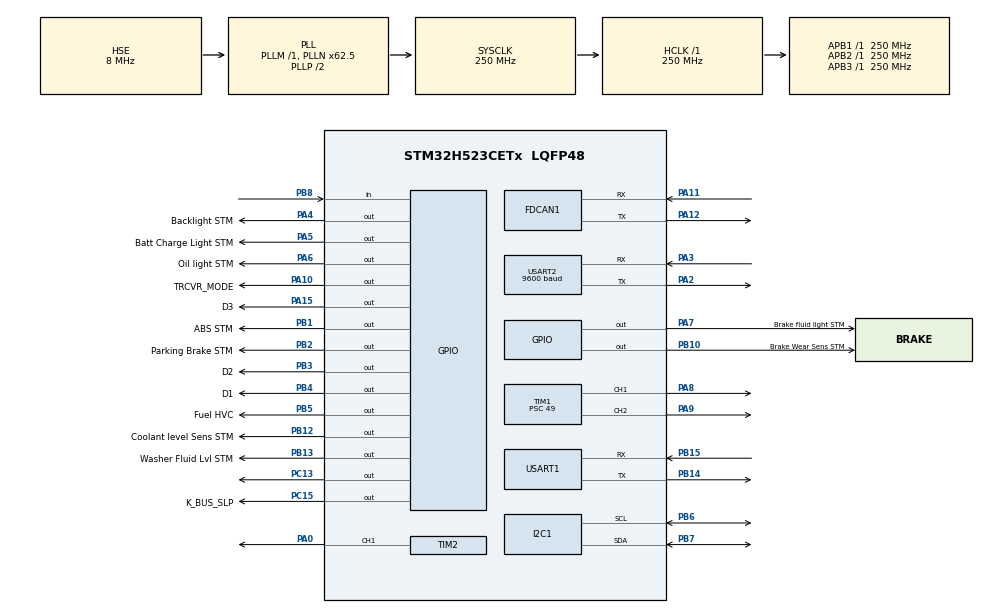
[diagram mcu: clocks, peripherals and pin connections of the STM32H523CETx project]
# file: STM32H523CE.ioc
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BOOTPATH.BootPathName=LEGACY
BOOTPATH.UserSelectedBootPath=LEGACY
CORTEX_M33_NS.userName=CORTEX_M33
FDCAN1.CalculateBaudRateNominal=15625000
FDCAN1.CalculateTimeBitNominal=64
FDCAN1.CalculateTimeQuantumNominal=4.0
FDCAN1.ClockDivider=FDCAN_CLOCK_DIV1
FDCAN1.DataPrescaler=1
FDCAN1.DataTimeSeg1=1
FDCAN1.DataTimeSeg2=1
FDCAN1.FrameFormat=FDCAN_FRAME_CLASSIC
FDCAN1.Mode=FDCAN_MODE_NORMAL
FDCAN1.NominalPrescaler=1
FDCAN1.NominalTimeSeg1=11
FDCAN1.NominalTimeSeg2=4
FDCAN1.StdFiltersNbr=1
FDCAN1.TxFifoQueueMode=FDCAN_TX_FIFO_OPERATION
I2C1.Timing=0x60808CD3
Mcu.Family=STM32H5
Mcu.Name=STM32H523CETx
Mcu.Package=LQFP48
NVIC.FDCAN1_IT0_IRQn=true\:0\:0\:false\:false\:true\:true\:true\:true
NVIC.FDCAN1_IT1_IRQn=true\:0\:0\:false\:false\:true\:true\:true\:true
NVIC.ICACHE_IRQn=true\:0\:0\:false\:false\:true\:true\:true\:true
NVIC.PriorityGroup=NVIC_PRIORITYGROUP_4
NVIC.TIM1_BRK_IRQn=true\:0\:0\:false\:false\:true\:true\:true\:true
NVIC.TIM1_CC_IRQn=true\:0\:0\:false\:false\:true\:true\:true\:true
NVIC.TIM1_TRG_COM_IRQn=true\:0\:0\:false\:false\:true\:true\:true\:true
NVIC.TIM1_UP_IRQn=true\:0\:0\:false\:false\:true\:true\:true\:true
NVIC.USART1_IRQn=true\:0\:0\:false\:false\:true\:true\:true\:true
PA0.Signal=S_TIM2_CH1
PA10.GPIO_Label=TRCVR_MODE
PA10.Signal=GPIO_Output
PA11.GPIO_Speed=GPIO_SPEED_FREQ_VERY_HIGH
PA11.Mode=FDCAN_Activate
PA11.Signal=FDCAN1_RX
PA12.GPIO_Speed=GPIO_SPEED_FREQ_VERY_HIGH
PA12.Mode=FDCAN_Activate
PA12.Signal=FDCAN1_TX
PA13(JTMS/SWDIO).Mode=Serial_Wire
PA13(JTMS/SWDIO).Signal=DEBUG_JTMS-SWDIO
PA14(JTCK/SWCLK).Mode=Serial_Wire
PA14(JTCK/SWCLK).Signal=DEBUG_JTCK-SWCLK
PA15(JTDI).GPIO_Label=D3
PA15(JTDI).GPIO_PuPd=GPIO_NOPULL
PA15(JTDI).PinState=GPIO_PIN_RESET
PA15(JTDI).Signal=GPIO_Output
PA2.GPIO_ModeDefaultPP=GPIO_MODE_AF_PP
PA2.GPIO_PuPd=GPIO_NOPULL
PA2.GPIO_Speed=GPIO_SPEED_FREQ_LOW
PA2.Mode=Asynchronous
PA2.Signal=USART2_TX
PA3.GPIO_ModeDefaultPP=GPIO_MODE_AF_PP
PA3.GPIO_PuPd=GPIO_NOPULL
PA3.GPIO_Speed=GPIO_SPEED_FREQ_LOW
PA3.Mode=Asynchronous
PA3.Signal=USART2_RX
PA4.GPIO_Label=Backlight STM
PA4.GPIO_ModeDefaultOutputPP=GPIO_MODE_OUTPUT_OD
PA4.GPIO_PuPd=GPIO_PULLUP
PA4.PinState=GPIO_PIN_SET
PA4.Signal=GPIO_Output
PA5.GPIO_Label=Batt Charge Light STM
PA5.PinState=GPIO_PIN_SET
PA5.Signal=GPIO_Output
PA6.GPIO_Label=Oil Iight STM
PA6.PinState=GPIO_PIN_SET
PA6.Signal=GPIO_Output
PA7.GPIO_Label=Brake fluid light STM
PA7.Signal=GPIO_Output
PA8.Signal=S_TIM1_CH1
PA9.Signal=S_TIM1_CH2
PB1.GPIO_Label=ABS STM
PB1.Signal=GPIO_Output
PB10.GPIO_Label=Brake Wear Sens STM
PB10.Signal=GPIO_Output
PB12.GPIO_Label=Coolant level Sens STM
PB12.Signal=GPIO_Output
PB13.GPIO_Label=Washer Fluid Lvl STM
PB13.PinState=GPIO_PIN_SET
PB13.Signal=GPIO_Output
PB14.Mode=Asynchronous
PB14.Signal=USART1_TX
PB15.Mode=Asynchronous
PB15.Signal=USART1_RX
PB2.GPIO_Label=Parking Brake STM
PB2.GPIO_PuPd=GPIO_NOPULL
PB2.Signal=GPIO_Output
PB3(JTDO/TRACESWO).GPIO_Label=D2
PB3(JTDO/TRACESWO).PinState=GPIO_PIN_RESET
PB3(JTDO/TRACESWO).Signal=GPIO_Output
PB4(NJTRST).GPIO_Label=D1
PB4(NJTRST).GPIO_PuPd=GPIO_NOPULL
PB4(NJTRST).PinState=GPIO_PIN_RESET
PB4(NJTRST).Signal=GPIO_Output
PB5.GPIO_Label=Fuel HVC
PB5.Signal=GPIO_Output
PB6.Mode=I2C
PB6.Signal=I2C1_SCL
PB7.Mode=I2C
PB7.Signal=I2C1_SDA
PB8.Signal=GPIO_Input
PC13.Signal=GPIO_Output
PC15-OSC32_OUT(OSC32_OUT).GPIO_Label=K_BUS_SLP
PC15-OSC32_OUT(OSC32_OUT).GPIO_PuPd=GPIO_PULLUP
PC15-OSC32_OUT(OSC32_OUT).PinState=GPIO_PIN_SET
PC15-OSC32_OUT(OSC32_OUT).Signal=GPIO_Output
PH0-OSC_IN(PH0).Mode=HSE-External-Oscillator
PH0-OSC_IN(PH0).Signal=RCC_OSC_IN
PH1-OSC_OUT(PH1).Mode=HSE-External-Oscillator
PH1-OSC_OUT(PH1).Signal=RCC_OSC_OUT
ProjectManager.HeapSize=0x200
ProjectManager.StackSize=0x400
ProjectManager.TargetToolchain=STM32CubeIDE
RCC.ADCFreq_Value=250000000
RCC.AHBFreq_Value=250000000
RCC.APB1Freq_Value=250000000
RCC.APB1TimFreq_Value=250000000
RCC.APB2Freq_Value=250000000
RCC.APB2TimFreq_Value=250000000
RCC.APB3Freq_Value=250000000
RCC.CSI_VALUE=4000000
RCC.CortexFreq_Value=250000000
RCC.EPOD_VALUE=8000000
RCC.FDCANClockSelection=RCC_FDCANCLKSOURCE_PLL1Q
RCC.HCLKFreq_Value=250000000
RCC.HSE_VALUE=8000000
RCC.HSI48_VALUE=48000000
RCC.HSIDiv=RCC_HSI_DIV1
RCC.HSI_VALUE=64000000
RCC.LSE_VALUE=32768
RCC.LSIRC_VALUE=32000
RCC.PLL2FRACN=0
RCC.PLL2M=4
RCC.PLL2N=8
RCC.PLL2Q=16
RCC.PLL2Source=RCC_PLL2_SOURCE_HSE
RCC.PLL3FRACN=0
RCC.PLL3Source=RCC_PLL3_SOURCE_HSE
RCC.PLLFRACN=4096
RCC.PLLN=62
RCC.PLLSourceVirtual=RCC_PLL1_SOURCE_HSE
RCC.SYSCLKFreq_VALUE=250000000
RCC.SYSCLKSource=RCC_SYSCLKSOURCE_PLLCLK
RCC.USBFreq_Value=48000000
RCC.VCOOutputFreq_Value=500000000
SH.S_TIM1_CH1.0=TIM1_CH1,PWM Generation1 CH1
SH.S_TIM1_CH2.0=TIM1_CH2,PWM Generation2 CH2
SH.S_TIM2_CH1.0=TIM2_CH1,PWM Generation1 CH1
TIM1.AutoReloadPreload=TIM_AUTORELOAD_PRELOAD_DISABLE
TIM1.Channel-PWM\ Generation1\ CH1=TIM_CHANNEL_1
TIM1.Channel-PWM\ Generation2\ CH2=TIM_CHANNEL_2
TIM1.ClockDivision=TIM_CLOCKDIVISION_DIV1
TIM1.PeriodNoDither=65535
TIM1.Prescaler=49
TIM1.PulseNoDither_1=5000
TIM1.PulseNoDither_2=5000 
TIM2.Channel-PWM\ Generation1\ CH1=TIM_CHANNEL_1
USART1.AutoBaudRateEnableParam=UART_ADVFEATURE_AUTOBAUDRATE_DISABLE
USART1.VirtualMode-Asynchronous=VM_ASYNC
USART2.BaudRate=9600
USART2.Parity=PARITY_EVEN
USART2.VirtualMode-Asynchronous=VM_ASYNC
USART2.WordLength=WORDLENGTH_9B
VP_BOOTPATH_VS_BOOTPATH.Mode=BP_Activate
VP_CORTEX_M33_NS_VS_Hclk.Mode=Hclk_Mode
VP_ICACHE_VS_ICACHE.Mode=DirectMappedCache
VP_MEMORYMAP_VS_MEMORYMAP.Mode=CurAppReg
VP_PWR_VS_DBSignals.Mode=DisableDeadBatterySignals
VP_PWR_VS_LPOM.Mode=PowerOptimisation
VP_PWR_VS_SECSignals.Mode=Security/Privilege
VP_TIM1_VS_ClockSourceINT.Mode=Internal
board=custom

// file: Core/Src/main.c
/* USER CODE BEGIN Header */
/**
  ******************************************************************************
  * @file           : main.c
  * @brief          : Main program body
  ******************************************************************************
  * @attention
  *
  * Copyright (c) 2025 STMicroelectronics.
  * All rights reserved.
  *
  * This software is licensed under terms that can be found in the LICENSE file
  * in the root directory of this software component.
  * If no LICENSE file comes with this software, it is provided AS-IS.
  *
  ******************************************************************************
  */
/* USER CODE END Header */
#include "main.h"

/* USER CODE BEGIN Includes */
#include <stdio.h>
#include <stdbool.h>
/* USER CODE END Includes */

/* USER CODE BEGIN PD */
#define TURN_RAPID        0x80
#define TURN_RIGHT        0x40
#define TURN_LEFT         0x20
#define FOG_REAR          0x10
#define FOG_FRONT         0x08
#define BEAM_HIGH         0x04
#define BEAM_LOW          0x02
#define PARKING           0x01
#define BUFFER_SIZE 128  // Rozmiar bufora odbiorczego
#define CCM_LIC_PLATE     0x80
#define CCM_TURN_RIGHT    0x40
#define CCM_TURN_LEFT     0x20
#define CCM_FOG_REAR      0x10
#define CCM_FOG_FRONT     0x08
#define CCM_HIGH_BEAM     0x04
#define CCM_LOW_BEAM      0x02
#define CCM_PARKING       0x01

#define CCM_REVERSE       0x20
#define INDICATORS        0x04
#define CCM_BRAKE         0x02

#define FOG_REAR_SWITCH   0x40
#define KOMBI_LOW_LEFT    0x20
#define KOMBI_LOW_RIGHT   0x10
#define KOMBI_BRAKE_LEFT  0x02

#define MIN_SPEED 0        // 0 km/h
#define MAX_SPEED 255      // 255 km/h
#define MIN_FREQ 100       // 100 Hz
#define MAX_FREQ 1770000   // 1770 kHz
#define PCLK1_FREQ 250000000 // 250 MHz
/* USER CODE END PD */

FDCAN_HandleTypeDef hfdcan1;

I2C_HandleTypeDef hi2c1;

TIM_HandleTypeDef htim1;
TIM_HandleTypeDef htim2;

UART_HandleTypeDef huart1;
UART_HandleTypeDef huart2;

/* USER CODE BEGIN PV */
FDCAN_TxHeaderTypeDef TxHeader_DME1;
FDCAN_TxHeaderTypeDef RxHeader2;
uint8_t               TxData_DME1[8]= {0xff, 0xff, 0xff, 0x1e, 0x55, 0x66, 0x77, 0x88};
uint8_t               RxData2[8];
uint32_t              TxMailbox;
#define RX_BUFFER_SIZE 25600

uint8_t rxDatar;  // Pojedynczy bajt do odbioru

#define UART_TIMEOUT 500  // Timeout dla UART w ms
#define WIFI_SSID "PLAY_Swiatlowod_19A1"
#define WIFI_PASS "t8Xv9auf7Z#D"
#define BUFFER_SIZE 256  // Zapasowy bufor na dane
uint8_t uartRxBuffer[256]; // Bufor dla odbieranych danych
/* USER CODE END PV */

void SystemClock_Config(void);
static void MX_GPIO_Init(void);
static void MX_FDCAN1_Init(void);
static void MX_I2C1_Init(void);
static void MX_TIM1_Init(void);
static void MX_TIM2_Init(void);
static void MX_USART1_UART_Init(void);
static void MX_USART2_UART_Init(void);
static void MX_ICACHE_Init(void);
#define MAX_PACKET_SIZE 128
/* USER CODE BEGIN PFP */
typedef struct {
    uint32_t time;
    char car[4];
    uint16_t flags;
    char gear;
    char plid;
    float speed;
    float rpm;
    float turbo;
    float engTemp;
    float fuel;
    float oilPressure;
    float oilTemp;
    uint32_t dashLights;
    uint32_t showLights;
    float throttle;
    float brake;
    float clutch;
    char display1[16];
    char display2[16];
    int id;
} xxx;

// Bufor na dane odbierane z ESP32

char rxBuffer[BUFFER_SIZE];
uint8_t packetBuffer[MAX_PACKET_SIZE];
volatile int rxIndex = 0;
int packetLength = 0;
bool packetReady = false;
/* USER CODE END PFP */

/* USER CODE BEGIN 0 */
typedef enum {
    STATE_SEARCHING,  // Szukanie nagłówka "+IPD"
    STATE_READING_LEN, // Odczyt długości pakietu
    STATE_READING_DATA // Odczyt danych
} ParserState;

ParserState state = STATE_SEARCHING;
uint16_t packet_length = 0;  // Długość pakietu
uint16_t data_index = 0;     // Indeks w buforze danych
uint8_t packet_buffer[256];  // Bufor na dane pakietu
void ProcessByte(uint8_t byte) {
    static uint8_t ipd_header_index = 0;
    static const uint8_t ipd_header[] = {0x2B, 0x49, 0x50, 0x44};  // "+IPD" w hex

    switch (state) {
        case STATE_SEARCHING:
            if (byte == ipd_header[ipd_header_index]) {
                ipd_header_index++;
                if (ipd_header_index == sizeof(ipd_header)) {
                    // Znaleziono pełny nagłówek +IPD
                    state = STATE_READING_LEN;
                    ipd_header_index = 0;
                    packet_length = 0;
                }
            } else {
                ipd_header_index = (byte == ipd_header[0]) ? 1 : 0;
            }
            break;

        case STATE_READING_LEN:
            if (byte >= '0' && byte <= '9') {
                packet_length = packet_length * 10 + (byte - '0');
                if (packet_length >= BUFFER_SIZE) {
                    state = STATE_SEARCHING;
                    packet_length = 0;
                }
            } else if (byte == ':') {
                state = STATE_READING_DATA;
                data_index = 0;
            } else {
                state = STATE_SEARCHING;
                packet_length = 0;
            }
            break;

        case STATE_READING_DATA:
            if (data_index < packet_length && data_index < BUFFER_SIZE) {
                packet_buffer[data_index++] = byte;
            }

            if (data_index >= packet_length) {
                // Otrzymano pełny pakiet
                if (packet_length >= sizeof(xxx)) {
                    xxx received_packet;
                    memcpy(&received_packet, packet_buffer, sizeof(xxx));

                    // Wypisanie wartości
                    printf("Speed: %.2f m/s\n", received_packet.speed);
                    printf("RPM: %.2f\n", received_packet.rpm);
                    printf("Throttle: %.2f\n", received_packet.throttle);
                    printf("Brake: %.2f\n", received_packet.brake);
                    printf("Clutch: %.2f\n", received_packet.clutch);
                    printf("Gear: %d\n", received_packet.gear);
                    printf("Turbo: %.2f BAR\n", received_packet.turbo);
                    printf("Engine Temp: %.2f C\n", received_packet.engTemp);
                }

                state = STATE_SEARCHING;
            }
            break;
    }
}

void ESP32_SendCommand(const char* command) {
    HAL_UART_Transmit(&huart1, (uint8_t*)command, strlen(command), HAL_MAX_DELAY);
    HAL_UART_Transmit(&huart1, (uint8_t*)"\r\n", 2, HAL_MAX_DELAY);  // Końcówka komendy AT
    HAL_Delay(100);  // Czekaj na odpowiedź
}

// Funkcja do odbierania danych z ESP32
void ESP32_ReceiveData(uint8_t* buffer, uint16_t size) {
    HAL_UART_Receive(&huart1, buffer, size, HAL_MAX_DELAY);
}

// Funkcja do parsowania danych UDP
void ParseUDPPacket(uint8_t* data, xxx* packet) {
    memcpy(packet, data, sizeof(xxx));  // Skopiuj dane do struktury
}
//int __io_putchar(int ch) //function used to print() in usart
//{
//  if (ch == '\n') {
//    __io_putchar('\r');
//
//  }
//
//  HAL_UART_Transmit(&huart1, (uint8_t*)&ch, 1, HAL_MAX_DELAY);
//
//  return 1;
//}
void Set_PWM_Frequency(uint16_t speed_kmh) {
    // Poprawiona interpolacja częstotliwości
    uint32_t freq = 100 + ((1700 - 100) * speed_kmh) / 250;

    uint32_t arr_value, psc_value;

    if (freq < 3800) {
        psc_value = (250000000 / (65536 * freq));
        if (psc_value > 65535) psc_value = 65535;  // PSC nie może przekroczyć 16 bitów
        arr_value = (250000000 / ((psc_value + 1) * freq)) - 1;
    } else {
        psc_value = 0;
        arr_value = (250000000 / freq) - 1;
    }

    if (arr_value > 65535) arr_value = 65535;  // Ograniczenie ARR do 16 bitów
    //printf("Speed: %d km/h, Freq: %lu Hz, PSC: %lu, ARR: %lu\n", speed_kmh, freq, psc_value, arr_value);

    __HAL_TIM_SET_PRESCALER(&htim1, psc_value);
    __HAL_TIM_SET_AUTORELOAD(&htim1, arr_value);
    __HAL_TIM_SET_COUNTER(&htim1, 0);

    // W niektórych przypadkach wymagane jest wygenerowanie zdarzenia aktualizacji
    //__HAL_TIM_GENERATE_EVENT(&htim1, TIM_EVENTSOURCE_UPDATE);
}

void PWM_UpdateFrequency(TIM_HandleTypeDef *htim, uint8_t speed) {
    uint32_t frequency = PWM_frequency(speed);

    // Obliczanie prescalera
    uint32_t prescaler = 1;
    while (frequency < PCLK1_FREQ / 256 && prescaler < 256) {
        prescaler *= 2;
    }

    // Obliczanie ARR (auto-reload) na podstawie częstotliwości PWM i preskalera
    uint32_t arr = (PCLK1_FREQ / (frequency * prescaler)) - 1;

    // Ustawienie wartości prescalera i ARR
    __HAL_TIM_SET_PRESCALER(htim, prescaler - 1);
     __HAL_TIM_SET_AUTORELOAD(htim, arr);
     __HAL_TIM_SET_COMPARE(htim, TIM_CHANNEL_2, arr);  // Ustawienie wypełnienia 50%
 }
xxx packet;
/* USER CODE END 0 */

int main(void)
{

  /* MCU Configuration--------------------------------------------------------*/

  /* Reset of all peripherals, Initializes the Flash interface and the Systick. */
  HAL_Init();

  /* Configure the system clock */
  SystemClock_Config();

  /* Initialize all configured peripherals */
  MX_GPIO_Init();
  MX_FDCAN1_Init();
  MX_I2C1_Init();
  MX_TIM1_Init();
  MX_TIM2_Init();
  MX_USART1_UART_Init();
 // HAL_UART_Receive_IT(&huart1, &rxDatar, 1);
  HAL_UART_Receive_IT(&huart1, (uint8_t*)&rxBuffer[rxIndex], 1);
  MX_USART2_UART_Init();
  MX_ICACHE_Init();
  /* USER CODE BEGIN 2 */
  HAL_TIM_OC_Start_IT(&htim1, TIM_CHANNEL_1);
  //initESP();
  //TIM1->CCR1 = 50;
  HAL_TIM_PWM_Start(&htim1, TIM_CHANNEL_2);
  HAL_TIM_PWM_Start(&htim1, TIM_CHANNEL_1);

  // Konfiguracja ESP32 za pomocą komend AT
     ESP32_SendCommand("AT+RST");  // Resetuj ESP32
    // HAL_Delay(1000);
    // ESP32_SendCommand("AT+CWMODE=1");  // Ustaw tryb stacji (klient Wi-Fi)
    // HAL_Delay(1000);
    // ESP32_SendCommand("AT+CWJAP=\"PLAY_Swiatlowod_19A1\",\"t8Xv9auf7Z#D\"");  // Połącz z Wi-Fi
     HAL_Delay(5000);
     ESP32_SendCommand("AT+CIPSTART=\"UDP\",\"0.0.0.0\",12345,12345,2");  // Ustaw tryb UDP
     HAL_Delay(1000);
     //ESP32_SendCommand("AT+CIPRECVMODE=1");  // Włącz tryb odbioru danych
     //HAL_Delay(1000);
     xxx received_packet;

  //HAL_FDCAN_ConfigTxDelayCompensation(&hfdcan1, 5, 0);
  //HAL_FDCAN_EnableTxDelayCompensation(&hfdcan1);

  // Konfiguracja wiadomości

	 TxData_DME1[0] = 0x19 ;                     // LV_SWI_IGK=1, LV_F_N_ENG=0, LV_ACK_TCS=0, LV_ERR_GC=1, SF_TQD=1
	 TxData_DME1[1] = 0x4C;      // TQI_TQR_CAN = 75%
	 uint16_t engineSpeed = (uint16_t)(3000 / 0.15625);
	 TxData_DME1[2] = 0xD0; // N_ENG LSB
	 TxData_DME1[3] = (uint8_t)(engineSpeed >> 8);   // N_ENG MSB
	 TxData_DME1[4] = (uint8_t)(60 / 0.390625);      // TQI_CAN = 60%
	 TxData_DME1[5] = (uint8_t)(5 / 0.390625);       // TQ_LOSS_CAN = 5%
	 TxData_DME1[6] = 0b11000000;                   // ERR_AMT_CAN bits
	 TxData_DME1[7] = (uint8_t)(80 / 0.390625);      // TQI_MAF_CAN = 80%

  TxHeader_DME1.Identifier = 0x316;  // ID ramki
  TxHeader_DME1.IdType = FDCAN_STANDARD_ID;
  TxHeader_DME1.TxFrameType = FDCAN_DATA_FRAME;
  TxHeader_DME1.DataLength = FDCAN_DLC_BYTES_8;
  TxHeader_DME1.ErrorStateIndicator = FDCAN_ESI_ACTIVE;
  TxHeader_DME1.BitRateSwitch = FDCAN_BRS_OFF;
  TxHeader_DME1.FDFormat = FDCAN_CLASSIC_CAN;
  TxHeader_DME1.TxEventFifoControl = FDCAN_NO_TX_EVENTS;

  FDCAN_FilterTypeDef sFilterConfig;
  sFilterConfig.FilterIndex = 0;
  sFilterConfig.FilterType = FDCAN_FILTER_RANGE;
  sFilterConfig.FilterConfig = FDCAN_FILTER_TO_RXFIFO0;
  sFilterConfig.FilterID1 = 0x316;
  sFilterConfig.FilterID2 = 0x1FFFFFFF;

  if (HAL_FDCAN_ConfigFilter(&hfdcan1, &sFilterConfig) != HAL_OK) {
      /* Filter configuration Error */
      printf("[CAN] Unable to configure!\n");
  }
  if(HAL_FDCAN_Start(&hfdcan1)!= HAL_OK)
  {
   Error_Handler();
  }

  if (HAL_FDCAN_ActivateNotification(&hfdcan1, FDCAN_IT_RX_FIFO0_NEW_MESSAGE, 0) != HAL_OK)
  {
    /* Notification Error */
    Error_Handler();
  }
  printf("starting\n");
  HAL_GPIO_TogglePin(D1_GPIO_Port, D1_Pin);
  //HAL_GPIO_WritePin(GPIO_PIN_3, GPIOB, GPIO_PIN_RESET);
  uint8_t piecpiec[]     = {0x55};

  uint8_t a[]     = {  0x3f, 0x0b, 0xBF ,0x0c, 0x00, 0x00, 0x00,0x00, 0x00 ,0x00, 0x01, 0x06 };
  uint8_t turnRight[]     = {0xD0, 0x07, 0xBF, 0x5B, 0x43, 0x83, 0x2E, 0x3F, 0xE2, '\n'};
  uint8_t turnLeft[]      = {0xD0, 0x07, 0xBF, 0x5B, 0x23, 0x83, 0x0E, 0x3F, 0xA2};
  uint8_t hazardLights[]  = {0xD0, 0x07, 0xBF, 0x5B, 0x63, 0x83, 0x0E, 0x3F, 0xE2};
  uint8_t highBeam1[] = {0xd0, 0x07, 0xbf, 0x5b, 0x07, 0x83, 0x0a, 0x3f, 0x82, '\n'};  // Zakończone LF (Line Feed)
  uint8_t highBeam2[] = {0xd0, 0x07, 0xbf, 0x5b, 0x07, 0x83, 0x0a, 0x3f, 0x82, '\r'};  // Zakończone CR (Carriage Return)
  uint8_t highBeam3[] = {0xd0, 0x07, 0xbf, 0x5b, 0x07, 0x83, 0x0a, 0x3f, 0x82, '\r', '\n'}; // Zakończone CRLF (Carriage Return + Line Feed)
  uint8_t highBeam4[] = {0xd0, 0x07, 0xbf, 0x5b, 0x07, 0x83, 0x0a, 0x3f, 0x82, '\r', '\n'};
  uint8_t testing[] = {0xd0, 0x07, 0xbf, 0x5b, 0x01 , 0xC9 , 0x02 , 0x02 , 0xFB, '\n'}; // Zakończone NULL (znak końca ciągu w stylu C)
  uint8_t byte_before_newline = highBeam4[8];  // 0x82
  uint8_t new_byte = (byte_before_newline << 1); // Przesuwamy 0x82 w lewo o 1 bit, aby zrobić miejsce na bit LOW

  // Wstawiamy nowy bajt do tablicy
  highBeam4[8] = new_byte;  // Zaktualizowana wartość 0x82 -> 0x04
  uint8_t highBeam5[] = {0xd0, 0x07, 0xbf, 0x5b, 0x07, 0x83, 0x0a, 0x3f, 0x82, 0xFF}; // Zakończone 0xFF (często używane w niektórych protokołach)
  uint8_t stopTurning[]   = {0xD0, 0x07, 0xBF, 0x5B, 0x03, 0x83, 0x0A, 0x3F, 0x86};
  uint8_t lcdTurnOff[]    = {0x30, 0x19, 0x80, 0x1A, 0x30, 0x00, 0x20, 0x20, 0x20,
                             0x20, 0x20, 0x20, 0x20, 0x20, 0x20, 0x20, 0x20, 0x20,
                             0x20, 0x20, 0x20, 0x20, 0x20, 0x20, 0x83, 0x80, 0x04,
                             0x30, 0x1B, 0x00, 0x8F};

  uint8_t turnRight_noChecksum[] = {0xD0, 0x07, 0xBF, 0x5B, 0x40, 0x40, 0x32, 0x40};
  uint8_t turnLeft_noChecksum[]  = {0xD0, 0x07, 0xBF, 0x5B, 0x23, 0x83, 0x0E, 0x3F};
  uint8_t turnRight_XOR[9];
  uint8_t turnLeft_XOR[9];
  uint8_t calculateXORChecksum(uint8_t *data, uint16_t length) {
      uint8_t checksum = 0;
      for (uint16_t i = 0; i < length; i++) {
          checksum ^= data[i];
      }
      return checksum;
  }
  uint8_t calculate_checksum(uint8_t *data, uint8_t length) {
      uint8_t checksum = 0;
      for (uint8_t i = 0; i < length; i++) {
          checksum ^= data[i];
      }
      return checksum;
  }
  void send_cluster_request(uint8_t byte1, uint8_t byte2, uint8_t byte3, uint8_t byte4) {
      uint8_t frame[9];
      frame[0] = 0xD0;
      frame[1] = 0x07; // Długość wiadomości
      frame[2] = 0xBF;
      frame[3] = 0x5B; // ID Cluster Indicators Request (0x5A)
      frame[4] = byte1;
      frame[5] = byte2;
      frame[6] = byte3;
      frame[7] = byte4;
      frame[8] = calculate_checksum(frame, 8); // Checksum XOR
 	  HAL_UART_Transmit(&huart2, frame, sizeof(frame), 500);
  }
  void send_lin_frame(uint8_t identifier, uint8_t *data, uint8_t data_length) {
      if (data_length > 8) return;  // Maksymalnie 8 bajtów danych w polu Data Field

      uint8_t frame[11];  // Maksymalny rozmiar ramki: 1 bajt ID + 8 bajtów danych + 1 bajt sumy kontrolnej
      frame[0] = identifier;

      // Kopiowanie danych
      for (uint8_t i = 0; i < data_length; i++) {
          frame[1 + i] = data[i];
      }

      // Obliczanie sumy kontrolnej
      uint8_t checksum = calculateXORChecksum(frame, 1 + data_length);
      frame[1 + data_length] = checksum;

      // Wysyłanie pola Break
      __HAL_UART_SEND_REQ(&huart1, UART_SENDBREAK_REQUEST);
      HAL_Delay(1);  // Krótka przerwa po Break

      // Wysyłanie pola Sync
      uint8_t sync = 0x55;
      HAL_UART_Transmit(&huart1, &sync, 1, 100);

      // Wysyłanie pola Identifier, Data i Checksum
      HAL_UART_Transmit(&huart1, frame, 2 + data_length, 100);
  }

  void prepareChecksumFrames() {
      memcpy(turnRight_XOR, turnRight_noChecksum, 8);
      turnRight_XOR[8] = calculateXORChecksum(turnRight_noChecksum, 8);

      memcpy(turnLeft_XOR, turnLeft_noChecksum, 8);
      turnLeft_XOR[8] = calculateXORChecksum(turnLeft_noChecksum, 8);
  }
  // Funkcja wysyłania danych przez UART
  void sendFrame(uint8_t *frame, uint16_t size) {
	  HAL_LIN_SendBreak(&huart2);
	  HAL_UART_Transmit(&huart2, piecpiec, sizeof(piecpiec), 100);
      HAL_UART_Transmit(&huart2, frame, size, 100);
  }

 // HAL_UART_Transmit(&huart2, turnRight, sizeof(turnRight), 500);
  //HAL_UART_Transmit(&huart2, frame, sizeof(frame), HAL_MAX_DELAY);
  //HAL_UART_Transmit(&huart2, frame2, sizeof(frame), HAL_MAX_DELAY);
  uint8_t rxData[1]; // Bufor na 1 bajt danych
  uint16_t speed = 0;
	    int8_t direction = 1; // 1 = rośnie, -1 = maleje

  /* USER CODE END 2 */

  /* Infinite loop */
  /* USER CODE BEGIN WHILE */
  while (1)
  {
//	  uint8_t byte;
//	          if (HAL_UART_Receive(&huart1, &byte, 1, 300) == HAL_OK) {
//	              ProcessByte(byte);
//	          }
//	  ESP32_ReceiveData(rx_buffer, sizeof(rx_buffer));
//
//	          // Sprawdź, czy odebrano pakiet UDP
//	          if (strstr((char*)rx_buffer, "+IPD") != NULL) {
//	              // Parsuj dane UDP do struktury
//	              ParseUDPPacket(rx_buffer, &received_packet);
//
//	              // Przetwarzaj odebrane dane
//	              printf("Speed: %.2f m/s\n", received_packet.speed);
//	              printf("RPM: %.2f\n", received_packet.rpm);
//	              printf("Throttle: %.2f\n", received_packet.throttle);
//	              printf("Brake: %.2f\n", received_packet.brake);
//	              printf("Clutch: %.2f\n", received_packet.clutch);
//	              printf("Gear: %d\n", received_packet.gear);
//	              printf("Turbo: %.2f BAR\n", received_packet.turbo);
//	              printf("Engine Temp: %.2f C\n", received_packet.engTemp);
//	              printf("Fuel: %.2f\n", received_packet.fuel);
//	              printf("Oil Temp: %.2f C\n", received_packet.oilTemp);
//	              printf("Dash Lights: %u\n", received_packet.dashLights);
//	              printf("Show Lights: %u\n", received_packet.showLights);
//	          }
//
//	          HAL_Delay(100);  // Czekaj przed kolejnym odczytem
	         int speed_kph = packet.speed * 3.6;

	        Set_PWM_Frequency(speed_kph);
//	        HAL_Delay(1);
//
//	        speed += direction;
//	        if (speed >= 250) {
//	            direction = -1; // Odwracamy kierunek
//	        }
//	        else if (speed <= 0) {
//	       	            direction = 1; // Odwracamy kierunek
//	       	        }

//	  if (HAL_FDCAN_GetTxFifoFreeLevel(&hfdcan1) > 0) {
//	      if (HAL_FDCAN_AddMessageToTxFifoQ(&hfdcan1, &TxHeader_DME1, TxData_DME1) != HAL_OK) {
//	          printf("Błąd wysyłania wiadomości\n");
//	          Error_Handler();
//	      }
//	  } else {
//		  CheckCANErrors();
//	 //x     printf("Bufor nadawczy pełny, nie można dodać wiadomości\n");
//	  }
//	   CheckCANErrors();

	   char at_response[64]; // Bufor na odpowiedź
	//   HAL_UART_Transmit(&huart1, (uint8_t*)"AT\r\n", 4, HAL_MAX_DELAY);
	  // HAL_UART_Receive(&huart1, (uint8_t*)at_response, sizeof(at_response), 500);

//	   if (strstr(at_response, "OK") != NULL) {
//	       HAL_GPIO_WritePin(D3_GPIO_Port, D3_Pin, GPIO_PIN_SET); // Zapal LED
//	   } else {
//	       HAL_GPIO_WritePin(D3_GPIO_Port, D3_Pin, GPIO_PIN_RESET); // Zgaś LED
//	   }

	  // HAL_UART_Transmit(&huart2, frame, sizeof(frame), HAL_MAX_DELAY);
	 //  if (HAL_UART_Receive(&huart2, rxData, 1, HAL_MAX_DELAY) == HAL_OK) {
	  //            // Odebrano dane — wyślij je z powrotem przez USART
	//	   printf("Odebrano: 0x%02X (%c)\r\n", rxData[0], rxData[0]);
	   //       }
	 //  HAL_LIN_SendBreak(&huart2);
	  // HAL_UART_Transmit(&huart2, frame, sizeof(frame), 100);

	   //HAL_UART_Transmit(&huart2, frame2, sizeof(frame), HAL_MAX_DELAY);
	  // printf("working\n");
	   // HAL_UART_Transmit(&huart2, piecpiec		, sizeof(piecpiec), 100);
	   uint8_t lf = 0x0A;  // LF (Line Feed) w ASCII
	     // HAL_Delay(1000);  // Poczekaj 1 sekundę

		  //HAL_LIN_SendBreak(&huart2);
		  //HAL_UART_Transmit(&huart2, highBeam1, sizeof(highBeam1), 100);
		    // HAL_Delay(1000);  // Poczekaj 1 sekundę
		//  HAL_UART_Transmit(&huart2, highBeam2, sizeof(highBeam2), 100);
		   //  HAL_Delay(1000);  // Poczekaj 1 sekundę
		  //HAL_UART_Transmit(&huart2, highBeam3, sizeof(highBeam3), 100);
		 //    HAL_Delay(1000);  // Poczekaj 1 sekundę

		//  HAL_UART_Transmit(&huart2, piecpiec, sizeof(piecpiec), 100);
		 // HAL_Delay(100);
		 // HAL_UART_Transmit(&huart2, turnRight, sizeof(turnRight), 100);
		 // HAL_Delay(500);
		 //HAL_UART_Transmit(&huart2, testing, sizeof(testing), 500);
		// send_cluster_request(0x1A, 0x12, 0x00, 0x00);

		// send_cluster_request(0x7, 0x00, 0xff, 0xff);
		 //    HAL_Delay(1000);  // Poczekaj 1 sekundę

		 // HAL_UART_Transmit(&huart2, highBeam5, sizeof(highBeam5), 100);
		 //Set_PWM_Frequency(100);
		 // HAL_Delay(10);  // Poczekaj chwilę, aby USART mógł zakończyć transmisję

		  //HAL_UART_Transmit(&huart2, &lf, 1, HAL_MAX_DELAY);  // Wysyłanie LF

	      uint8_t turn_left_data[] = {0xD0 ,0x08 ,0xBF ,0x5B ,0x40 ,0x00 ,0x04 ,0x00 ,0x00 ,0x78};
	      uint8_t identifier = 0x5A;  // Przykładowy identyfikator ramki
	      //Run_PWM_SpeedLoop;

	      //send_lin_frame(identifier, turn_left_data, sizeof(turn_left_data));
	  // HAL_Delay(200);
	   //HAL_LIN_SendBreak(&huart2);
	   //HAL_UART_Transmit(&huart2, lin_frame, sizeof(lin_frame), 100);
    /* USER CODE END WHILE */

  }
}

void SystemClock_Config(void)
{
  RCC_OscInitTypeDef RCC_OscInitStruct = {0};
  RCC_ClkInitTypeDef RCC_ClkInitStruct = {0};

  /** Configure the main internal regulator output voltage
  */
  __HAL_PWR_VOLTAGESCALING_CONFIG(PWR_REGULATOR_VOLTAGE_SCALE0);

  while(!__HAL_PWR_GET_FLAG(PWR_FLAG_VOSRDY)) {}

  /** Initializes the RCC Oscillators according to the specified parameters
  * in the RCC_OscInitTypeDef structure.
  */
  RCC_OscInitStruct.OscillatorType = RCC_OSCILLATORTYPE_HSE;
  RCC_OscInitStruct.HSEState = RCC_HSE_ON;
  RCC_OscInitStruct.PLL.PLLState = RCC_PLL_ON;
  RCC_OscInitStruct.PLL.PLLSource = RCC_PLL1_SOURCE_HSE;
  RCC_OscInitStruct.PLL.PLLM = 1;
  RCC_OscInitStruct.PLL.PLLN = 62;
  RCC_OscInitStruct.PLL.PLLP = 2;
  RCC_OscInitStruct.PLL.PLLQ = 2;
  RCC_OscInitStruct.PLL.PLLR = 2;
  RCC_OscInitStruct.PLL.PLLRGE = RCC_PLL1_VCIRANGE_3;
  RCC_OscInitStruct.PLL.PLLVCOSEL = RCC_PLL1_VCORANGE_WIDE;
  RCC_OscInitStruct.PLL.PLLFRACN = 4096;
  if (HAL_RCC_OscConfig(&RCC_OscInitStruct) != HAL_OK)
  {
    Error_Handler();
  }

  /** Initializes the CPU, AHB and APB buses clocks
  */
  RCC_ClkInitStruct.ClockType = RCC_CLOCKTYPE_HCLK|RCC_CLOCKTYPE_SYSCLK
                              |RCC_CLOCKTYPE_PCLK1|RCC_CLOCKTYPE_PCLK2
                              |RCC_CLOCKTYPE_PCLK3;
  RCC_ClkInitStruct.SYSCLKSource = RCC_SYSCLKSOURCE_PLLCLK;
  RCC_ClkInitStruct.AHBCLKDivider = RCC_SYSCLK_DIV1;
  RCC_ClkInitStruct.APB1CLKDivider = RCC_HCLK_DIV1;
  RCC_ClkInitStruct.APB2CLKDivider = RCC_HCLK_DIV1;
  RCC_ClkInitStruct.APB3CLKDivider = RCC_HCLK_DIV1;

  if (HAL_RCC_ClockConfig(&RCC_ClkInitStruct, FLASH_LATENCY_5) != HAL_OK)
  {
    Error_Handler();
  }

  /** Configure the programming delay
  */
  __HAL_FLASH_SET_PROGRAM_DELAY(FLASH_PROGRAMMING_DELAY_2);
}

static void MX_FDCAN1_Init(void)
{

  hfdcan1.Instance = FDCAN1;
  hfdcan1.Init.ClockDivider = FDCAN_CLOCK_DIV1;
  hfdcan1.Init.FrameFormat = FDCAN_FRAME_CLASSIC;
  hfdcan1.Init.Mode = FDCAN_MODE_NORMAL;
  hfdcan1.Init.AutoRetransmission = DISABLE;
  hfdcan1.Init.TransmitPause = DISABLE;
  hfdcan1.Init.ProtocolException = DISABLE;
  hfdcan1.Init.NominalPrescaler = 1;
  hfdcan1.Init.NominalSyncJumpWidth = 1;
  hfdcan1.Init.NominalTimeSeg1 = 11;
  hfdcan1.Init.NominalTimeSeg2 = 4;
  hfdcan1.Init.DataPrescaler = 1;
  hfdcan1.Init.DataSyncJumpWidth = 1;
  hfdcan1.Init.DataTimeSeg1 = 1;
  hfdcan1.Init.DataTimeSeg2 = 1;
  hfdcan1.Init.StdFiltersNbr = 1;
  hfdcan1.Init.ExtFiltersNbr = 0;
  hfdcan1.Init.TxFifoQueueMode = FDCAN_TX_FIFO_OPERATION;
  if (HAL_FDCAN_Init(&hfdcan1) != HAL_OK)
  {
    Error_Handler();
  }
  /* USER CODE BEGIN FDCAN1_Init 2 */

  sFilterConfig.FilterIndex = 0;
  sFilterConfig.FilterType = FDCAN_FILTER_RANGE;
  sFilterConfig.FilterConfig = FDCAN_FILTER_TO_RXFIFO0;
  sFilterConfig.FilterID1 = 0x316;
  sFilterConfig.FilterID2 = 0x1FFFFFFF;

  if (HAL_FDCAN_ConfigFilter(&hfdcan1, &sFilterConfig) != HAL_OK) {
      /* Filter configuration Error */
      printf("[CAN] Unable to configure!\n");
  }
  if(HAL_FDCAN_Start(&hfdcan1)!= HAL_OK)
  {
   Error_Handler();
  }
  /* USER CODE END FDCAN1_Init 2 */

}

static void MX_I2C1_Init(void)
{

  hi2c1.Instance = I2C1;
  hi2c1.Init.Timing = 0x60808CD3;
  hi2c1.Init.OwnAddress1 = 0;
  hi2c1.Init.AddressingMode = I2C_ADDRESSINGMODE_7BIT;
  hi2c1.Init.DualAddressMode = I2C_DUALADDRESS_DISABLE;
  hi2c1.Init.OwnAddress2 = 0;
  hi2c1.Init.OwnAddress2Masks = I2C_OA2_NOMASK;
  hi2c1.Init.GeneralCallMode = I2C_GENERALCALL_DISABLE;
  hi2c1.Init.NoStretchMode = I2C_NOSTRETCH_DISABLE;
  if (HAL_I2C_Init(&hi2c1) != HAL_OK)
  {
    Error_Handler();
  }

  /** Configure Analogue filter
  */
  if (HAL_I2CEx_ConfigAnalogFilter(&hi2c1, I2C_ANALOGFILTER_ENABLE) != HAL_OK)
  {
    Error_Handler();
  }

  /** Configure Digital filter
  */
  if (HAL_I2CEx_ConfigDigitalFilter(&hi2c1, 0) != HAL_OK)
  {
    Error_Handler();
  }

}

static void MX_ICACHE_Init(void)
{

  /** Enable instruction cache in 1-way (direct mapped cache)
  */
  if (HAL_ICACHE_ConfigAssociativityMode(ICACHE_1WAY) != HAL_OK)
  {
    Error_Handler();
  }
  if (HAL_ICACHE_Enable() != HAL_OK)
  {
    Error_Handler();
  }

}

static void MX_TIM1_Init(void)
{

  TIM_ClockConfigTypeDef sClockSourceConfig = {0};
  TIM_MasterConfigTypeDef sMasterConfig = {0};
  TIM_OC_InitTypeDef sConfigOC = {0};
  TIM_BreakDeadTimeConfigTypeDef sBreakDeadTimeConfig = {0};

  htim1.Instance = TIM1;
  htim1.Init.Prescaler = 49;
  htim1.Init.CounterMode = TIM_COUNTERMODE_UP;
  htim1.Init.Period = 65535;
  htim1.Init.ClockDivision = TIM_CLOCKDIVISION_DIV1;
  htim1.Init.RepetitionCounter = 0;
  htim1.Init.AutoReloadPreload = TIM_AUTORELOAD_PRELOAD_DISABLE;
  if (HAL_TIM_Base_Init(&htim1) != HAL_OK)
  {
    Error_Handler();
  }
  sClockSourceConfig.ClockSource = TIM_CLOCKSOURCE_INTERNAL;
  if (HAL_TIM_ConfigClockSource(&htim1, &sClockSourceConfig) != HAL_OK)
  {
    Error_Handler();
  }
  if (HAL_TIM_PWM_Init(&htim1) != HAL_OK)
  {
    Error_Handler();
  }
  sMasterConfig.MasterOutputTrigger = TIM_TRGO_RESET;
  sMasterConfig.MasterOutputTrigger2 = TIM_TRGO2_RESET;
  sMasterConfig.MasterSlaveMode = TIM_MASTERSLAVEMODE_DISABLE;
  if (HAL_TIMEx_MasterConfigSynchronization(&htim1, &sMasterConfig) != HAL_OK)
  {
    Error_Handler();
  }
  sConfigOC.OCMode = TIM_OCMODE_PWM1;
  sConfigOC.Pulse = 5000;
  sConfigOC.OCPolarity = TIM_OCPOLARITY_HIGH;
  sConfigOC.OCNPolarity = TIM_OCNPOLARITY_HIGH;
  sConfigOC.OCFastMode = TIM_OCFAST_DISABLE;
  sConfigOC.OCIdleState = TIM_OCIDLESTATE_RESET;
  sConfigOC.OCNIdleState = TIM_OCNIDLESTATE_RESET;
  if (HAL_TIM_PWM_ConfigChannel(&htim1, &sConfigOC, TIM_CHANNEL_1) != HAL_OK)
  {
    Error_Handler();
  }
  if (HAL_TIM_PWM_ConfigChannel(&htim1, &sConfigOC, TIM_CHANNEL_2) != HAL_OK)
  {
    Error_Handler();
  }
  sBreakDeadTimeConfig.OffStateRunMode = TIM_OSSR_DISABLE;
  sBreakDeadTimeConfig.OffStateIDLEMode = TIM_OSSI_DISABLE;
  sBreakDeadTimeConfig.LockLevel = TIM_LOCKLEVEL_OFF;
  sBreakDeadTimeConfig.DeadTime = 0;
  sBreakDeadTimeConfig.BreakState = TIM_BREAK_DISABLE;
  sBreakDeadTimeConfig.BreakPolarity = TIM_BREAKPOLARITY_HIGH;
  sBreakDeadTimeConfig.BreakFilter = 0;
  sBreakDeadTimeConfig.BreakAFMode = TIM_BREAK_AFMODE_INPUT;
  sBreakDeadTimeConfig.Break2State = TIM_BREAK2_DISABLE;
  sBreakDeadTimeConfig.Break2Polarity = TIM_BREAK2POLARITY_HIGH;
  sBreakDeadTimeConfig.Break2Filter = 0;
  sBreakDeadTimeConfig.Break2AFMode = TIM_BREAK_AFMODE_INPUT;
  sBreakDeadTimeConfig.AutomaticOutput = TIM_AUTOMATICOUTPUT_DISABLE;
  if (HAL_TIMEx_ConfigBreakDeadTime(&htim1, &sBreakDeadTimeConfig) != HAL_OK)
  {
    Error_Handler();
  }
  HAL_TIM_MspPostInit(&htim1);

}

static void MX_TIM2_Init(void)
{

  TIM_MasterConfigTypeDef sMasterConfig = {0};
  TIM_OC_InitTypeDef sConfigOC = {0};

  htim2.Instance = TIM2;
  htim2.Init.Prescaler = 0;
  htim2.Init.CounterMode = TIM_COUNTERMODE_UP;
  htim2.Init.Period = 4294967295;
  htim2.Init.ClockDivision = TIM_CLOCKDIVISION_DIV1;
  htim2.Init.AutoReloadPreload = TIM_AUTORELOAD_PRELOAD_DISABLE;
  if (HAL_TIM_PWM_Init(&htim2) != HAL_OK)
  {
    Error_Handler();
  }
  sMasterConfig.MasterOutputTrigger = TIM_TRGO_RESET;
  sMasterConfig.MasterSlaveMode = TIM_MASTERSLAVEMODE_DISABLE;
  if (HAL_TIMEx_MasterConfigSynchronization(&htim2, &sMasterConfig) != HAL_OK)
  {
    Error_Handler();
  }
  sConfigOC.OCMode = TIM_OCMODE_PWM1;
  sConfigOC.Pulse = 0;
  sConfigOC.OCPolarity = TIM_OCPOLARITY_HIGH;
  sConfigOC.OCFastMode = TIM_OCFAST_DISABLE;
  if (HAL_TIM_PWM_ConfigChannel(&htim2, &sConfigOC, TIM_CHANNEL_1) != HAL_OK)
  {
    Error_Handler();
  }
  HAL_TIM_MspPostInit(&htim2);

}

static void MX_USART1_UART_Init(void)
{

  huart1.Instance = USART1;
  huart1.Init.BaudRate = 115200;
  huart1.Init.WordLength = UART_WORDLENGTH_8B;
  huart1.Init.StopBits = UART_STOPBITS_1;
  huart1.Init.Parity = UART_PARITY_NONE;
  huart1.Init.Mode = UART_MODE_TX_RX;
  huart1.Init.HwFlowCtl = UART_HWCONTROL_NONE;
  huart1.Init.OverSampling = UART_OVERSAMPLING_16;
  huart1.Init.OneBitSampling = UART_ONE_BIT_SAMPLE_DISABLE;
  huart1.Init.ClockPrescaler = UART_PRESCALER_DIV1;
  huart1.AdvancedInit.AdvFeatureInit = UART_ADVFEATURE_NO_INIT;
  if (HAL_UART_Init(&huart1) != HAL_OK)
  {
    Error_Handler();
  }
  if (HAL_UARTEx_SetTxFifoThreshold(&huart1, UART_TXFIFO_THRESHOLD_1_8) != HAL_OK)
  {
    Error_Handler();
  }
  if (HAL_UARTEx_SetRxFifoThreshold(&huart1, UART_RXFIFO_THRESHOLD_1_8) != HAL_OK)
  {
    Error_Handler();
  }
  if (HAL_UARTEx_DisableFifoMode(&huart1) != HAL_OK)
  {
    Error_Handler();
  }
}

static void MX_USART2_UART_Init(void)
{

  huart2.Instance = USART2;
  huart2.Init.BaudRate = 9600;
  huart2.Init.WordLength = UART_WORDLENGTH_9B;
  huart2.Init.StopBits = UART_STOPBITS_1;
  huart2.Init.Parity = UART_PARITY_EVEN;
  huart2.Init.Mode = UART_MODE_TX_RX;
  huart2.Init.HwFlowCtl = UART_HWCONTROL_NONE;
  huart2.Init.OverSampling = UART_OVERSAMPLING_16;
  huart2.Init.OneBitSampling = UART_ONE_BIT_SAMPLE_DISABLE;
  huart2.Init.ClockPrescaler = UART_PRESCALER_DIV1;
  huart2.AdvancedInit.AdvFeatureInit = UART_ADVFEATURE_NO_INIT;
  if (HAL_UART_Init(&huart2) != HAL_OK)
  {
    Error_Handler();
  }
  if (HAL_UARTEx_SetTxFifoThreshold(&huart2, UART_TXFIFO_THRESHOLD_1_8) != HAL_OK)
  {
    Error_Handler();
  }
  if (HAL_UARTEx_SetRxFifoThreshold(&huart2, UART_RXFIFO_THRESHOLD_1_8) != HAL_OK)
  {
    Error_Handler();
  }
  if (HAL_UARTEx_DisableFifoMode(&huart2) != HAL_OK)
  {
    Error_Handler();
  }

}

static void MX_GPIO_Init(void)
{
  GPIO_InitTypeDef GPIO_InitStruct = {0};

  /* GPIO Ports Clock Enable */
  __HAL_RCC_GPIOC_CLK_ENABLE();
  __HAL_RCC_GPIOH_CLK_ENABLE();
  __HAL_RCC_GPIOA_CLK_ENABLE();
  __HAL_RCC_GPIOB_CLK_ENABLE();

  /*Configure GPIO pin Output Level */
  HAL_GPIO_WritePin(GPIOC, GPIO_PIN_13, GPIO_PIN_RESET);

  /*Configure GPIO pin Output Level */
  HAL_GPIO_WritePin(K_BUS_SLP_GPIO_Port, K_BUS_SLP_Pin, GPIO_PIN_SET);

  /*Configure GPIO pin Output Level */
  HAL_GPIO_WritePin(GPIOA, Backlight_STM_Pin|Batt_Charge_Light_STM_Pin|Oil_Iight_STM_Pin, GPIO_PIN_SET);

  /*Configure GPIO pin Output Level */
  HAL_GPIO_WritePin(GPIOA, Brake_fluid_light_STM_Pin|TRCVR_MODE_Pin|D3_Pin, GPIO_PIN_RESET);

  /*Configure GPIO pin Output Level */
  HAL_GPIO_WritePin(GPIOB, ABS_STM_Pin|Parking_Brake_STM_Pin|Brake_Wear_Sens_STM_Pin|Coolant_level_Sens_STM_Pin
                          |D2_Pin|D1_Pin|Fuel_HVC_Pin, GPIO_PIN_RESET);

  /*Configure GPIO pin Output Level */
  HAL_GPIO_WritePin(Washer_Fluid_Lvl_STM_GPIO_Port, Washer_Fluid_Lvl_STM_Pin, GPIO_PIN_SET);

  /*Configure GPIO pin : PC13 */
  GPIO_InitStruct.Pin = GPIO_PIN_13;
  GPIO_InitStruct.Mode = GPIO_MODE_OUTPUT_PP;
  GPIO_InitStruct.Pull = GPIO_NOPULL;
  GPIO_InitStruct.Speed = GPIO_SPEED_FREQ_LOW;
  HAL_GPIO_Init(GPIOC, &GPIO_InitStruct);

  /*Configure GPIO pin : K_BUS_SLP_Pin */
  GPIO_InitStruct.Pin = K_BUS_SLP_Pin;
  GPIO_InitStruct.Mode = GPIO_MODE_OUTPUT_PP;
  GPIO_InitStruct.Pull = GPIO_PULLUP;
  GPIO_InitStruct.Speed = GPIO_SPEED_FREQ_LOW;
  HAL_GPIO_Init(K_BUS_SLP_GPIO_Port, &GPIO_InitStruct);

  /*Configure GPIO pin : Backlight_STM_Pin */
  GPIO_InitStruct.Pin = Backlight_STM_Pin;
  GPIO_InitStruct.Mode = GPIO_MODE_OUTPUT_OD;
  GPIO_InitStruct.Pull = GPIO_PULLUP;
  GPIO_InitStruct.Speed = GPIO_SPEED_FREQ_LOW;
  HAL_GPIO_Init(Backlight_STM_GPIO_Port, &GPIO_InitStruct);

  /*Configure GPIO pins : Batt_Charge_Light_STM_Pin Oil_Iight_STM_Pin Brake_fluid_light_STM_Pin TRCVR_MODE_Pin
                           D3_Pin */
  GPIO_InitStruct.Pin = Batt_Charge_Light_STM_Pin|Oil_Iight_STM_Pin|Brake_fluid_light_STM_Pin|TRCVR_MODE_Pin
                          |D3_Pin;
  GPIO_InitStruct.Mode = GPIO_MODE_OUTPUT_PP;
  GPIO_InitStruct.Pull = GPIO_NOPULL;
  GPIO_InitStruct.Speed = GPIO_SPEED_FREQ_LOW;
  HAL_GPIO_Init(GPIOA, &GPIO_InitStruct);

  /*Configure GPIO pins : ABS_STM_Pin Parking_Brake_STM_Pin Brake_Wear_Sens_STM_Pin Coolant_level_Sens_STM_Pin
                           Washer_Fluid_Lvl_STM_Pin D2_Pin D1_Pin Fuel_HVC_Pin */
  GPIO_InitStruct.Pin = ABS_STM_Pin|Parking_Brake_STM_Pin|Brake_Wear_Sens_STM_Pin|Coolant_level_Sens_STM_Pin
                          |Washer_Fluid_Lvl_STM_Pin|D2_Pin|D1_Pin|Fuel_HVC_Pin;
  GPIO_InitStruct.Mode = GPIO_MODE_OUTPUT_PP;
  GPIO_InitStruct.Pull = GPIO_NOPULL;
  GPIO_InitStruct.Speed = GPIO_SPEED_FREQ_LOW;
  HAL_GPIO_Init(GPIOB, &GPIO_InitStruct);

  /*Configure GPIO pin : PB8 */
  GPIO_InitStruct.Pin = GPIO_PIN_8;
  GPIO_InitStruct.Mode = GPIO_MODE_INPUT;
  GPIO_InitStruct.Pull = GPIO_NOPULL;
  HAL_GPIO_Init(GPIOB, &GPIO_InitStruct);

}

/* USER CODE BEGIN 4 */
    void HAL_FDCAN_RxFifo0Callback(FDCAN_HandleTypeDef *hfdcan, uint32_t RxFifo0ITs)
    {
    	if (HAL_FDCAN_GetRxFifoFillLevel(&hfdcan1, FDCAN_RX_FIFO0) > 0) {
    	    if (HAL_FDCAN_GetRxMessage(&hfdcan1, FDCAN_RX_FIFO0, &RxHeader2, RxData2) == HAL_OK) {
    	       // printf("Odebrano ramkę: ID = 0x%03X, Dane = ", RxHeader2.Identifier);
    	        for (int i = 0; i < RxHeader2.DataLength; i++) {
    	            //printf("%02X ", RxData2[i]);
    	        }
    	       // printf("\n");
    	    }
    	}
    }

void CheckCANErrors() {
    uint32_t error = HAL_FDCAN_GetError(&hfdcan1);

    if (error == HAL_FDCAN_ERROR_NONE) {
      //  printf("Brak błędów CAN\n");
    } else {
        if (error & HAL_FDCAN_ERROR_TIMEOUT) {
            printf(" HAL_FDCAN_ERROR_TIMEOUT\n");
        }
        if (error & HAL_FDCAN_ERROR_NOT_INITIALIZED) {
            printf(" HAL_FDCAN_ERROR_NOT_INITIALIZED\n");
        }
        if (error & HAL_FDCAN_ERROR_NOT_READY) {
            printf(" HAL_FDCAN_ERROR_NOT_READY\n");
        }
        if (error & HAL_FDCAN_ERROR_NOT_STARTED) {
            printf(" HAL_FDCAN_ERROR_NOT_STARTED\n");
        }
        if (error & HAL_FDCAN_ERROR_NOT_SUPPORTED) {
            printf(" HAL_FDCAN_ERROR_NOT_SUPPORTED\n");
        }
        if (error & HAL_FDCAN_ERROR_PARAM) {
            printf("HAL_FDCAN_ERROR_PARAM\n");
        }
        if (error & HAL_FDCAN_ERROR_PENDING) {
            printf("  HAL_FDCAN_ERROR_PENDING\n");
        }
        if (error & HAL_FDCAN_ERROR_RAM_ACCESS) {
            printf("  HAL_FDCAN_ERROR_RAM_ACCESS\n");
        }
        if (error & HAL_FDCAN_ERROR_PROTOCOL_ARBT) {
            printf(" HAL_FDCAN_ERROR_PROTOCOL_ARBT\n");
        }
        if (error & HAL_FDCAN_ERROR_PROTOCOL_DATA) {
                 printf(" HAL_FDCAN_ERROR_PROTOCOL_DATA\n");
          }
        if (error & HAL_FDCAN_ERROR_RESERVED_AREA) {
                        printf(" HAL_FDCAN_ERROR_RESERVED_AREA\n");
                 }
	   if (error & HAL_FDCAN_ERROR_FIFO_EMPTY) {
		   printf("HAL_FDCAN_ERROR_FIFO_EMPTY\n");
	   }
	   if (error & HAL_FDCAN_ERROR_FIFO_FULL) {
		   printf("  HAL_FDCAN_ERROR_FIFO_FULL\n");
	   }
	   if (error & HAL_FDCAN_ERROR_LOG_OVERFLOW) {
		   printf("  HAL_FDCAN_ERROR_LOG_OVERFLOW\n");
	   }
	   if (error & HAL_FDCAN_ERROR_RAM_WDG) {
		   printf(" HAL_FDCAN_ERROR_RAM_WDG\n");
    }
}}

void ReceiveCANFrame() {
    FDCAN_RxHeaderTypeDef rxHeader;
    uint8_t rxData[8];

    if (HAL_FDCAN_GetRxMessage(&hfdcan1, FDCAN_RX_FIFO0, &rxHeader, rxData) == HAL_OK) {
        printf("Odebrano ramkę ID: 0x%X\n", rxHeader.Identifier);
        for (int i = 0; i < rxHeader.DataLength >> 16; i++) {
            printf("Dane[%d]: 0x%X\n", i, rxData[i]);
        }
    } else {
        printf("Brak ramek do odebrania\n");
    }
}
void HAL_TIM_PeriodElapsedCallback(TIM_HandleTypeDef *htim)
{
  if (htim == &htim1) {
    HAL_GPIO_TogglePin(D2_GPIO_Port, D2_Pin);
  }
}

//void HAL_UART_RxCpltCallback(UART_HandleTypeDef *huart) {
//	  HAL_GPIO_TogglePin(D2_GPIO_Port, D2_Pin);
//	  HAL_GPIO_TogglePin(D3_GPIO_Port, D3_Pin);
//    if (huart->Instance == USART1) {
//       // if (rxDatar == '\n' || rxIndex >= RX_BUFFER_SIZE - 1) {
//            //rxBuffer[rxIndex] = '\0';  // Zakończ string
//    	rxBuffer[rxIndex++] = rxDatar;
//           // UART1_Print((char*)rxBuffer);  // Wyświetl na terminalu
//            //rxIndex = 0;  // Reset bufora
//        //} else {
//            //  // Zapisz bajt do bufora
//        //}
//        HAL_UART_Receive_IT(&huart1, &rxDatar, 1);  // Restart odbioru
//    }
//}
//void HAL_UART_RxCpltCallback(UART_HandleTypeDef *huart) {
//    if (huart->Instance == USART1) {  // Sprawdzamy, czy przerwanie pochodzi z USART1
//    		  HAL_GPIO_TogglePin(D2_GPIO_Port, D2_Pin);
//        if (rxIndex < BUFFER_SIZE - 1) {
//            rxIndex++;
//        }
//        else{
//        rxBuffer[rxIndex] = '\0';  // Zakończenie stringa
//        rxIndex = 0;  // Reset bufora po przetworzeniu
//        }
//
//        char* start = strstr(rxBuffer, "+IPD,");//rawdza, czy w buforze znajduje się ciąg +IPD, (nagłówek ESP32).
//
//        if (start) {
//        	  HAL_GPIO_TogglePin(D3_GPIO_Port, D3_Pin);
//            int dataLength = atoi(start + 5);  // Pobranie długości pakietu (za IPD)
//            char* dataStart = strchr(start, ':');// szuka pierwszego : po +IPD,.
//            if (dataStart && dataLength > 0) {
//                dataStart++;
//                parseData(dataStart, dataLength);
//                rxIndex = 0;  // Reset bufora po przetworzeniu
//            }
//        }
//        HAL_UART_Receive_IT(&huart1, (uint8_t*)&rxBuffer[rxIndex], 1);  // Restart odbioru
//    }
//}
//void parseData(const char* data, int length) {
//    if (length < sizeof(xxx)) {
//        printf("Błąd: Zbyt mało danych\n");
//        return;
//    }
//    xxx packet;
//    memcpy(&packet, data, sizeof(xxx));//memcpy kopiuje bajty z jednego miejsca w pamięci do drugiego. W tym przypadku kopiuje bajty z data do packet
//
//    printf("Car: %s\n", packet.car);
//    printf("Speed: %.2f m/s\n", packet.speed);
//    printf("RPM: %.2f\n", packet.rpm);
//    printf("Throttle: %.2f\n", packet.throttle);
//}
void HAL_UART_RxCpltCallback(UART_HandleTypeDef *huart) {
    if (huart->Instance == USART1) {
    	 HAL_GPIO_TogglePin(D2_GPIO_Port, D2_Pin);
        if (rxIndex < BUFFER_SIZE - 1) {
            rxBuffer[rxIndex++] = huart->Instance->RDR;  // Odczytaj dane z rejestru danych UART
        } else {
            rxBuffer[rxIndex] = '\0';  // Zakończenie stringa
            rxIndex = 0;  // Reset bufora po przetworzeniu
        }

        char* start = strstr((char*)rxBuffer, "+IPD,");  // Sprawdź, czy w buforze znajduje się ciąg +IPD,

        if (start) {
            packetLength = atoi(start + 5);  // Pobranie długości pakietu (za IPD)
            char* dataStart = strchr(start, ':');  // Szuka pierwszego : po +IPD,

            if (dataStart && packetLength > 0) {
                dataStart++;
                if (packetLength <= MAX_PACKET_SIZE) {
                    memcpy(packetBuffer, dataStart, packetLength);  // Kopiuj dane do packetBuffer
                    packetReady = true;  // Ustaw flagę, że pakiet jest gotowy do przetworzenia
                }
                rxIndex = 0;  // Reset bufora po przetworzeniu
            }
        }

        if (packetReady) {
            parseData((char*)packetBuffer, packetLength);  // Parsuj dane
            packetReady = false;  // Zresetuj flagę
        }

        HAL_UART_Receive_IT(&huart1, (uint8_t*)&rxBuffer[rxIndex], 1);  // Restart odbioru
    }
}

void parseData(const char* data, int length) {
    if (length < sizeof(xxx)) {
        printf("Błąd: Zbyt mało danych\n");
        return;
    }

    memcpy(&packet, data, sizeof(xxx));  // Kopiuj dane do struktury
    HAL_GPIO_TogglePin(D3_GPIO_Port, D3_Pin);
//    printf("Car: %s\n", packet.car);
//    printf("Speed: %.2f m/s\n", packet.speed);
//    printf("RPM: %.2f\n", packet.rpm);
//    printf("Throttle: %.2f\n", packet.throttle);
}
void UART1_Print(char *msg) {
    HAL_UART_Transmit(&huart1, (uint8_t*)msg, strlen(msg), HAL_MAX_DELAY);
    HAL_UART_Transmit(&huart1, (uint8_t*)"\r\n", 2, HAL_MAX_DELAY);  // Nowa linia
}

/* USER CODE END 4 */

void Error_Handler(void)
{
  /* USER CODE BEGIN Error_Handler_Debug */
	HAL_GPIO_WritePin(D3_GPIO_Port, D3_Pin, SET);
	CheckCANErrors();
  /* User can add his own implementation to report the HAL error return state */
  __disable_irq();
  while (1)
  {
  }

  /* USER CODE END Error_Handler_Debug */
}
